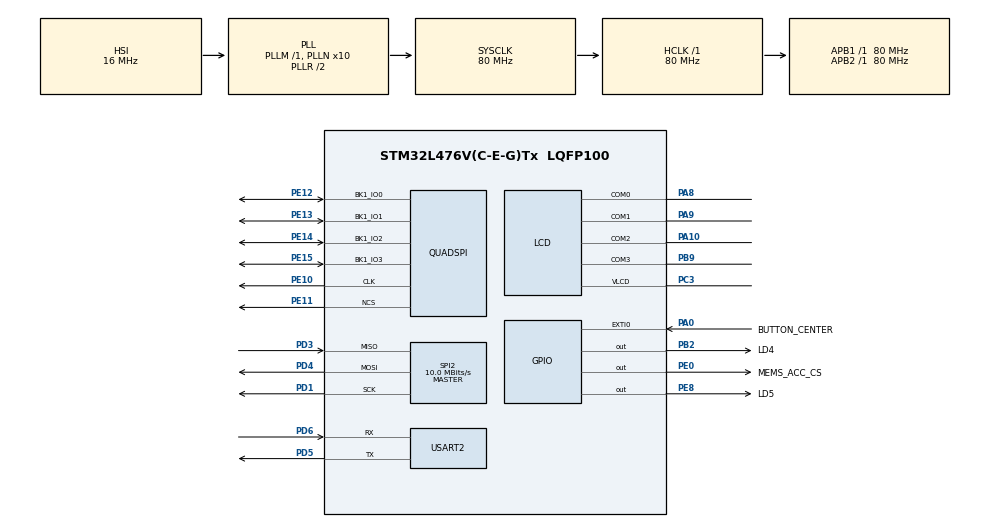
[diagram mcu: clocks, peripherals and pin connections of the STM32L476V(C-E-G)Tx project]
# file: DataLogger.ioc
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LCD.Bias=LCD_BIAS_1_3
LCD.BlinkFrequency=LCD_BLINKFREQUENCY_DIV32
LCD.Contrast=LCD_CONTRASTLEVEL_5
LCD.Divider=LCD_DIVIDER_31
LCD.PulseOnDuration=LCD_PULSEONDURATION_4
Mcu.Family=STM32L4
Mcu.Name=STM32L476V(C-E-G)Tx
Mcu.Package=LQFP100
Mcu.UserConstants=TIM6_PERIOD,2000-1;RTC_WAKEUP_COUNTER,20480-1;TIM6_PRESCALER,40000-1;USART_BUF_SIZE,9
NVIC.EXTI0_IRQn=true\:0\:0\:false\:false\:true\:true\:true
NVIC.PriorityGroup=NVIC_PRIORITYGROUP_4
NVIC.RTC_WKUP_IRQn=true\:0\:0\:false\:false\:true\:true\:true
NVIC.TIM6_DAC_IRQn=true\:0\:0\:false\:false\:true\:true\:true
NVIC.USART2_IRQn=true\:0\:0\:false\:false\:true\:true\:true
PA0.GPIO_Label=BUTTON_CENTER
PA0.GPIO_ModeDefaultEXTI=GPIO_MODE_IT_RISING
PA0.Signal=GPXTI0
PA10.Mode=1/4 Duty Cycle
PA10.Signal=LCD_COM2
PA8.Mode=1/4 Duty Cycle
PA8.Signal=LCD_COM0
PA9.Mode=1/4 Duty Cycle
PA9.Signal=LCD_COM1
PB2.GPIO_Label=LD4
PB2.Signal=GPIO_Output
PB9.Mode=1/4 Duty Cycle
PB9.Signal=LCD_COM3
PC14-OSC32_IN\ (PC14).Mode=LSE-External-Oscillator
PC14-OSC32_IN\ (PC14).Signal=RCC_OSC32_IN
PC15-OSC32_OUT\ (PC15).Mode=LSE-External-Oscillator
PC15-OSC32_OUT\ (PC15).Signal=RCC_OSC32_OUT
PC3.Mode=1/4 Duty Cycle
PC3.Signal=LCD_VLCD
PD1.Mode=Full_Duplex_Master
PD1.Signal=SPI2_SCK
PD3.Mode=Full_Duplex_Master
PD3.Signal=SPI2_MISO
PD4.Mode=Full_Duplex_Master
PD4.Signal=SPI2_MOSI
PD5.Mode=Asynchronous
PD5.Signal=USART2_TX
PD6.Mode=Asynchronous
PD6.Signal=USART2_RX
PE0.GPIO_Label=MEMS_ACC_CS
PE0.PinState=GPIO_PIN_RESET
PE0.Signal=GPIO_Output
PE10.Mode=Single Bank
PE10.Signal=QUADSPI_CLK
PE11.Mode=Single Bank
PE11.Signal=QUADSPI_NCS
PE12.Mode=Single Bank
PE12.Signal=QUADSPI_BK1_IO0
PE13.Mode=Single Bank
PE13.Signal=QUADSPI_BK1_IO1
PE14.Mode=Single Bank
PE14.Signal=QUADSPI_BK1_IO2
PE15.Mode=Single Bank
PE15.Signal=QUADSPI_BK1_IO3
PE8.GPIO_Label=LD5
PE8.Signal=GPIO_Output
ProjectManager.HeapSize=0x200
ProjectManager.StackSize=0x400
ProjectManager.TargetToolchain=STM32CubeIDE
QUADSPI.ChipSelectHighTime-Single\ Bank=QSPI_CS_HIGH_TIME_1_CYCLE
QUADSPI.ClockPrescaler-Single\ Bank=1
QUADSPI.FifoThreshold-Single\ Bank=4
QUADSPI.FlashSize-Single\ Bank=23
QUADSPI.SampleShifting-Single\ Bank=QSPI_SAMPLE_SHIFTING_HALFCYCLE
RCC.ADCFreq_Value=64000000
RCC.AHBFreq_Value=80000000
RCC.APB1Freq_Value=80000000
RCC.APB1TimFreq_Value=80000000
RCC.APB2Freq_Value=80000000
RCC.APB2TimFreq_Value=80000000
RCC.CortexFreq_Value=80000000
RCC.HCLKFreq_Value=80000000
RCC.HSE_VALUE=8000000
RCC.HSI_VALUE=16000000
RCC.MSI_VALUE=4000000
RCC.PLLN=10
RCC.PLLSourceVirtual=RCC_PLLSOURCE_HSI
RCC.RTCClockSelection=RCC_RTCCLKSOURCE_LSE
RCC.SYSCLKFreq_VALUE=80000000
RCC.SYSCLKSource=RCC_SYSCLKSOURCE_PLLCLK
RCC.USBFreq_Value=64000000
RCC.VCOOutputFreq_Value=160000000
RTC.WakeUpCounter-WakeUp=RTC_WAKEUP_COUNTER
SPI2.BaudRatePrescaler=SPI_BAUDRATEPRESCALER_8
SPI2.CalculateBaudRate=10.0 MBits/s
SPI2.DataSize=SPI_DATASIZE_8BIT
SPI2.Direction=SPI_DIRECTION_2LINES
SPI2.Mode=SPI_MODE_MASTER
SPI2.VirtualType=VM_MASTER
TIM6.Period=TIM6_PERIOD
TIM6.Prescaler=TIM6_PRESCALER
USART2.VirtualMode-Asynchronous=VM_ASYNC
VP_RTC_VS_RTC_Activate.Mode=RTC_Enabled
VP_RTC_VS_RTC_Calendar.Mode=RTC_Calendar
VP_RTC_VS_RTC_WakeUp_intern.Mode=WakeUp
VP_TIM6_VS_ClockSourceINT.Mode=Enable_Timer
board=custom

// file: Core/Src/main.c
/* USER CODE BEGIN Header */
/**
  ******************************************************************************
  * @file           : main.c
  * @brief          : Main program body
  ******************************************************************************
  * @attention
  *
  * Copyright (c) 2022 STMicroelectronics.
  * All rights reserved.
  *
  * This software is licensed under terms that can be found in the LICENSE file
  * in the root directory of this software component.
  * If no LICENSE file comes with this software, it is provided AS-IS.
  *
  ******************************************************************************
  */
/* USER CODE END Header */
#include "main.h"
#include "lcd.h"
#include "quadspi.h"
#include "rtc.h"
#include "tim.h"
#include "usart.h"
#include "gpio.h"

/* USER CODE BEGIN Includes */
#include "helpers.h"
#include "lsm303c.h"
#include "spi.h"

#include <stdio.h>
#include <string.h>
/* USER CODE END Includes */

/* USER CODE BEGIN PM */
volatile bool rtc_wakeup_flag = false;
volatile bool button_center_flag = false;
volatile bool tim6_period_flag = false;
volatile bool usart_receive_flag = false;
/* USER CODE END PM */

void SystemClock_Config(void);

/* USER CODE BEGIN 0 */

uint8_t usart_buffer[USART_BUF_SIZE];

void HAL_GPIO_EXTI_Callback(uint16_t GPIO_Pin) {
	if (GPIO_Pin == BUTTON_CENTER_Pin) {
		button_center_flag = true;
	}
}

void HAL_RTCEx_WakeUpTimerEventCallback(RTC_HandleTypeDef *hrtc) {
	rtc_wakeup_flag = true;
}

void HAL_TIM_PeriodElapsedCallback(TIM_HandleTypeDef* htim) {
	if (htim == &htim6) {
		tim6_period_flag = true;
	}
}

void HAL_UART_RxCpltCallback(UART_HandleTypeDef *huart) {
	if (huart == &huart2) {
		HAL_UART_Receive_IT(&huart2, usart_buffer, USART_BUF_SIZE);
		usart_receive_flag = true;
	}
}

/* USER CODE END 0 */

int main(void)
{

  /* MCU Configuration--------------------------------------------------------*/

  /* Reset of all peripherals, Initializes the Flash interface and the Systick. */
  HAL_Init();

  /* Configure the system clock */
  SystemClock_Config();

  /* Initialize all configured peripherals */
  MX_GPIO_Init();
  MX_USART2_UART_Init();
  MX_RTC_Init();
  MX_QUADSPI_Init();
  MX_SPI2_Init();
  MX_LCD_Init();
  MX_TIM6_Init();
  /* USER CODE BEGIN 2 */

  BSP_QSPI_Init();
  BSP_LCD_GLASS_Init();

  uint16_t init = (0b100001 << 8) | (0x27);
  LSM303C_AccInit(init);

  RTC_TimeTypeDef time;
  RTC_DateTypeDef date;
  uint32_t current_address = 0;

  char log_data[100];
  double acc_data[3];
  char lcd_data[6];

  HAL_UART_Receive_IT(&huart2, usart_buffer, USART_BUF_SIZE);

  bool lcd_print_data = false;

  BSP_QSPI_Read((uint8_t*)&current_address, LAST_SUBSECTOR_ADDRESS, sizeof(current_address));
  if (current_address >= LAST_SUBSECTOR_ADDRESS) {
	  BSP_LCD_GLASS_DisplayString((uint8_t*)"CLEAR");
	  clearFlashAndResetAddress(&current_address);
	  BSP_LCD_GLASS_Clear();
  }

  //wakeup every 10 seconds
  HAL_RTCEx_SetWakeUpTimer_IT(&hrtc, RTC_WAKEUP_COUNTER, RTC_WAKEUPCLOCK_RTCCLK_DIV16);
  HAL_TIM_Base_Start_IT(&htim6);
  /* USER CODE END 2 */

  /* Infinite loop */
  /* USER CODE BEGIN WHILE */
  while (1)
  {
	  if (rtc_wakeup_flag) {
		  rtc_wakeup_flag = false;
		  HAL_GPIO_TogglePin(LD5_GPIO_Port, LD5_Pin);
		  HAL_RTC_GetTime(&hrtc, &time, RTC_FORMAT_BIN);
		  HAL_RTC_GetDate(&hrtc, &date, RTC_FORMAT_BIN);
		  LSM303C_AccReadXYZinM_s2(acc_data);

		  sprintf(log_data,
				  "%02d:%02d:%02d, x = %f, y = %f, z = %f\r\n",
				  time.Hours,
				  time.Minutes,
				  time.Seconds,
				  acc_data[0],
				  acc_data[1],
				  acc_data[2]);

		  BSP_QSPI_Write((uint8_t*)log_data, current_address, strlen(log_data));
		  current_address += strlen(log_data);

		  if (current_address >= LAST_SUBSECTOR_ADDRESS) {
			  BSP_LCD_GLASS_DisplayString((uint8_t*)"CLEAR");
			  clearFlashAndResetAddress(&current_address);
			  BSP_LCD_GLASS_Clear();
		  } else {
			  BSP_QSPI_Erase_Block(LAST_SUBSECTOR_ADDRESS);
			  BSP_QSPI_Write((uint8_t*)&current_address, LAST_SUBSECTOR_ADDRESS, sizeof(current_address));
		  }
	  }

	  if (button_center_flag) {
		  button_center_flag = false;
		  HAL_GPIO_TogglePin(LD4_GPIO_Port, LD4_Pin);

		  sendLastNLogs(current_address, 10);
	  }

	  if (tim6_period_flag) {
		  tim6_period_flag = false;
		  if (lcd_print_data) {
			  bytesToString(lcd_data, current_address);
			  BSP_LCD_GLASS_Clear();
			  BSP_LCD_GLASS_DisplayString((uint8_t*)lcd_data);
		  } else {
			  BSP_LCD_GLASS_Clear();
			  BSP_LCD_GLASS_DisplayString((uint8_t*)"FILLED");
		  }
		  lcd_print_data = !lcd_print_data;
	  }

	  if (usart_receive_flag) {
		  usart_receive_flag = false;

		  HAL_GPIO_TogglePin(LD4_GPIO_Port, LD4_Pin);
		  sendRequestedData(usart_buffer, current_address);
	  }
    /* USER CODE END WHILE */

  }
}

void SystemClock_Config(void)
{
  RCC_OscInitTypeDef RCC_OscInitStruct = {0};
  RCC_ClkInitTypeDef RCC_ClkInitStruct = {0};

  /** Configure the main internal regulator output voltage
  */
  if (HAL_PWREx_ControlVoltageScaling(PWR_REGULATOR_VOLTAGE_SCALE1) != HAL_OK)
  {
    Error_Handler();
  }
  /** Configure LSE Drive Capability
  */
  HAL_PWR_EnableBkUpAccess();
  __HAL_RCC_LSEDRIVE_CONFIG(RCC_LSEDRIVE_LOW);
  /** Initializes the RCC Oscillators according to the specified parameters
  * in the RCC_OscInitTypeDef structure.
  */
  RCC_OscInitStruct.OscillatorType = RCC_OSCILLATORTYPE_HSI|RCC_OSCILLATORTYPE_LSE;
  RCC_OscInitStruct.LSEState = RCC_LSE_ON;
  RCC_OscInitStruct.HSIState = RCC_HSI_ON;
  RCC_OscInitStruct.HSICalibrationValue = RCC_HSICALIBRATION_DEFAULT;
  RCC_OscInitStruct.PLL.PLLState = RCC_PLL_ON;
  RCC_OscInitStruct.PLL.PLLSource = RCC_PLLSOURCE_HSI;
  RCC_OscInitStruct.PLL.PLLM = 1;
  RCC_OscInitStruct.PLL.PLLN = 10;
  RCC_OscInitStruct.PLL.PLLP = RCC_PLLP_DIV7;
  RCC_OscInitStruct.PLL.PLLQ = RCC_PLLQ_DIV2;
  RCC_OscInitStruct.PLL.PLLR = RCC_PLLR_DIV2;
  if (HAL_RCC_OscConfig(&RCC_OscInitStruct) != HAL_OK)
  {
    Error_Handler();
  }
  /** Initializes the CPU, AHB and APB buses clocks
  */
  RCC_ClkInitStruct.ClockType = RCC_CLOCKTYPE_HCLK|RCC_CLOCKTYPE_SYSCLK
                              |RCC_CLOCKTYPE_PCLK1|RCC_CLOCKTYPE_PCLK2;
  RCC_ClkInitStruct.SYSCLKSource = RCC_SYSCLKSOURCE_PLLCLK;
  RCC_ClkInitStruct.AHBCLKDivider = RCC_SYSCLK_DIV1;
  RCC_ClkInitStruct.APB1CLKDivider = RCC_HCLK_DIV1;
  RCC_ClkInitStruct.APB2CLKDivider = RCC_HCLK_DIV1;

  if (HAL_RCC_ClockConfig(&RCC_ClkInitStruct, FLASH_LATENCY_4) != HAL_OK)
  {
    Error_Handler();
  }
}

void Error_Handler(void)
{
  __disable_irq();
  while (1)
  {
  }
}
